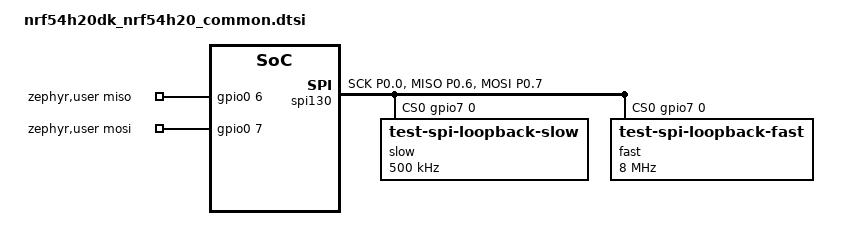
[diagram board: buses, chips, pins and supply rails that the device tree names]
/*
 * Copyright (c) 2024 Nordic Semiconductor ASA
 *
 * SPDX-License-Identifier: Apache-2.0
 */

#include <zephyr/dt-bindings/gpio/gpio.h>

/ {
	zephyr,user {
		miso-gpios = <&gpio0 6 GPIO_ACTIVE_HIGH>;
		mosi-gpios = <&gpio0 7 GPIO_ACTIVE_HIGH>;
	};
};

&pinctrl {
	spi130_default: spi130_default {
		group1 {
			psels = <NRF_PSEL(SPIM_SCK, 0, 0)>,
				<NRF_PSEL(SPIM_MISO, 0, 6)>,
				<NRF_PSEL(SPIM_MOSI, 0, 7)>;
		};
	};

	spi130_sleep: spi130_sleep {
		group1 {
			psels = <NRF_PSEL(SPIM_SCK, 0, 0)>,
				<NRF_PSEL(SPIM_MISO, 0, 6)>,
				<NRF_PSEL(SPIM_MOSI, 0, 7)>;
			low-power-enable;
		};
	};
};

&spi130 {
	pinctrl-0 = <&spi130_default>;
	pinctrl-1 = <&spi130_sleep>;
	pinctrl-names = "default", "sleep";
	overrun-character = <0x00>;
	zephyr,pm-device-runtime-auto;
	status = "okay";
	slow@0 {
		compatible = "test-spi-loopback-slow";
		reg = <0>;
		spi-max-frequency = <DT_FREQ_K(500)>;
	};
	fast@0 {
		compatible = "test-spi-loopback-fast";
		reg = <0>;
		spi-max-frequency = <DT_FREQ_M(8)>;
	};
	cs-gpios = <&gpio7 0 0>;
};

&gpio0 {
	status = "okay";
};

&gpio7 {
	status = "okay";
	zephyr,pm-device-runtime-auto;
};

&gpiote130 {
	status = "okay";
};
